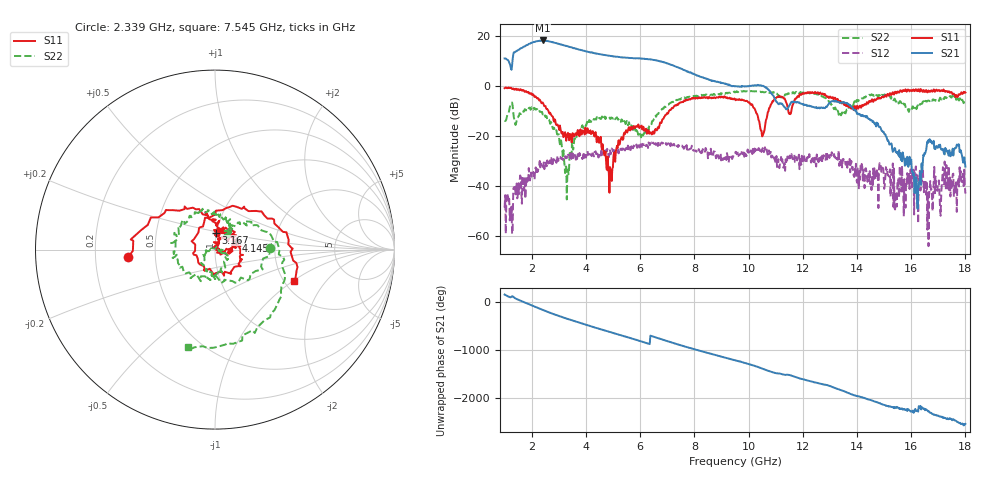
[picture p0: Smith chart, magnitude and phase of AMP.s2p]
!Keysight Technologies N9917A: A.08.15
!Date: Friday, 27 October 2017 09:07:55
!Timezone: (GMT-08:00) Pacific Time (US & Canada)
!Model: N9917A
!Serial: MY53102735
!GPS Latitude:
!GPS Longitude:
!GPS TimeStamp: 0001-01-01 00:00:00Z
!GPS Seconds Since Last Read: 0
!CHECKSUM:1795214090
!Correction: S11(ON U)S21(ON U)S12(ON U)S22(ON U)
!S2P File: Measurements:S11,S21,S12,S22:
# Hz S DB R 50
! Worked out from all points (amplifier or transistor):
!   801 points, 1 GHz to 18 GHz, reference 50 ohm
!   highest |S21| = 18.4 dB at 2.402 GHz (marker M1)
!   |S21| within 3 dB of that: 1.638 GHz to 3.514 GHz (1.875 GHz wide, 72.8 % of centre)
!   unconditionally stable (mu >= 1): start of sweep to end of sweep
!   at 3.826 GHz: K = 2.36, MAG = 14.6 dB, |S12| = -27.8 dB
!   at 9.5 GHz: K = 3.45, MAG = 5.4 dB, |S12| = -27.4 dB
!   at 18 GHz: K = 981.85, MAG = -27.5 dB, |S12| = -43.1 dB
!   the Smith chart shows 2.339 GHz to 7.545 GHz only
!   S11 on the Smith chart (normalised r, x): 2.339 GHz: 0.35, -0.04; 3.167 GHz: 0.99, +0.19; 4.145 GHz: 1.25, +0.13; 7.545 GHz: 2.26, -1.03
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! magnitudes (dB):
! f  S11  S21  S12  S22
! 1 GHz  -0.8  11.2  -48.7  -13.8
! 2.339 GHz  -6.3  18.3  -31.1  -10.3
! 2.402 GHz  -6.5  18.4  -31.8  -11.3
! 3.167 GHz  -20.4  16.5  -29.1  -25.6
! 3.295 GHz  -20.4  16.2  -28.9  -45.5
! 3.848 GHz  -19.4  14.5  -28.2  -16.3
! 4.145 GHz  -18.0  13.6  -27.3  -13.8
! 4.91 GHz  -37.5  12.2  -27.3  -13.2
! 5.505 GHz  -18.2  11.5  -24.7  -13.9
! 6.674 GHz  -16.5  10.2  -22.8  -11.0
! 7.545 GHz  -6.4  6.9  -23.8  -5.0
! 9.5 GHz  -5.3  0.0  -27.4  -2.5
! 10.52 GHz  -20.0  0.2  -24.9  -2.3
! 11.01 GHz  -4.7  -5.9  -30.3  -2.9
! 12.35 GHz  -2.4  -8.2  -29.4  -2.7
! 13.41 GHz  -6.6  -6.5  -29.5  -11.7
! 15.17 GHz  -3.8  -22.3  -36.2  -3.7
! 15.47 GHz  -2.8  -26.9  -48.3  -5.8
! 16.21 GHz  -1.9  -45.0  -36.4  -8.6
! 16.66 GHz  -1.9  -22.3  -43.5  -5.9
! 17.23 GHz  -2.0  -27.4  -30.2  -4.4
! 18 GHz  -2.5  -32.3  -43.1  -6.1
